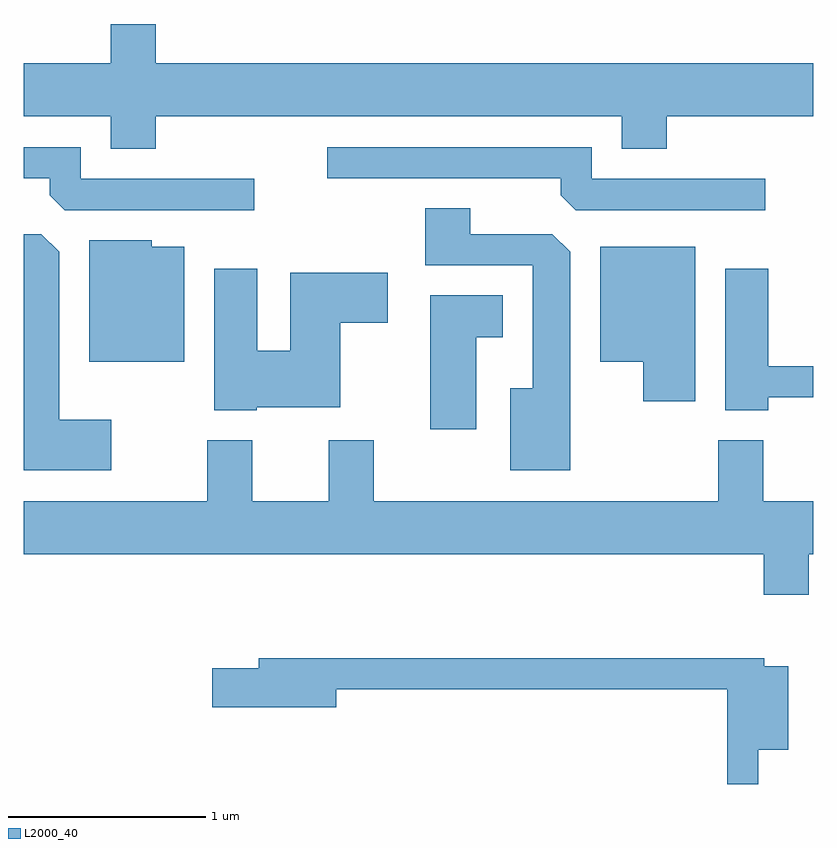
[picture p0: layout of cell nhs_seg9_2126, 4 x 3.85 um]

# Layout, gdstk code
import gdstk
lib = gdstk.Library(unit=1e-6, precision=1e-09)
def P(c, l, *ps):  # polygons
    for p in ps: c.add(gdstk.Polygon(p, *l))
L2000_40 = (2000, 40)

nhs_seg9_2126 = lib.new_cell('nhs_seg9_2126')
P(nhs_seg9_2126, L2000_40, [(248.279,1991.816),(250.641,1991.816),(250.641,1991.651),(250.869,1991.651),(250.869,1991.816),(251.611,1991.816),(251.611,1992.084),(248.279,1992.084),(248.279,1992.284),(248.051,1992.284),(248.051,1992.084),(247.611,1992.084),(247.611,1991.816),(248.051,1991.816),(248.051,1991.651),(248.279,1991.651)],
  [(248.778,1991.499),(247.899,1991.499),(247.899,1991.659),(247.611,1991.659),(247.611,1991.501),(247.741,1991.501),(247.741,1991.417),(247.817,1991.341),(248.778,1991.341)],
  [(251.368,1991.499),(250.489,1991.499),(250.489,1991.659),(249.148,1991.659),(249.148,1991.501),(250.331,1991.501),(250.331,1991.417),(250.407,1991.341),(251.368,1991.341)],
  [(250.379,1991.129),(250.289,1991.219),(249.874,1991.219),(249.874,1991.349),(249.646,1991.349),(249.646,1991.061),(250.191,1991.061),(250.191,1990.439),(250.076,1990.439),(250.076,1990.021),(250.379,1990.021)],
  [(248.054,1990.279),(247.789,1990.279),(247.789,1991.129),(247.699,1991.219),(247.611,1991.219),(247.611,1990.021),(248.054,1990.021)],
  [(248.424,1991.154),(248.259,1991.154),(248.259,1991.189),(247.941,1991.189),(247.941,1990.571),(248.424,1990.571)],
  [(251.014,1991.154),(250.531,1991.154),(250.531,1990.571),(250.751,1990.571),(250.751,1990.371),(251.014,1990.371)],
  [(248.79,1990.341),(249.214,1990.341),(249.214,1990.771),(249.454,1990.771),(249.454,1991.024),(248.961,1991.024),(248.961,1990.629),(248.794,1990.629),(248.794,1991.044),(248.576,1991.044),(248.576,1990.326),(248.79,1990.326)],
  [(251.384,1990.391),(251.611,1990.391),(251.611,1990.549),(251.384,1990.549),(251.384,1991.044),(251.166,1991.044),(251.166,1990.326),(251.384,1990.326)],
  [(249.904,1990.696),(250.039,1990.696),(250.039,1990.909),(249.671,1990.909),(249.671,1990.231),(249.904,1990.231)],
  [(251.589,1989.596),(251.611,1989.596),(251.611,1989.864),(251.359,1989.864),(251.359,1990.174),(251.131,1990.174),(251.131,1989.864),(249.384,1989.864),(249.384,1990.174),(249.156,1990.174),(249.156,1989.864),(248.769,1989.864),(248.769,1990.174),(248.541,1990.174),(248.541,1989.864),(247.611,1989.864),(247.611,1989.596),(251.361,1989.596),(251.361,1989.391),(251.589,1989.391)],
  [(251.334,1988.606),(251.484,1988.606),(251.484,1989.029),(251.364,1989.029),(251.364,1989.069),(248.801,1989.069),(248.801,1989.019),(248.566,1989.019),(248.566,1988.821),(249.194,1988.821),(249.194,1988.911),(251.176,1988.911),(251.176,1988.432),(251.334,1988.432)])

lib.write_gds('nhs_seg9_2126.gds')
